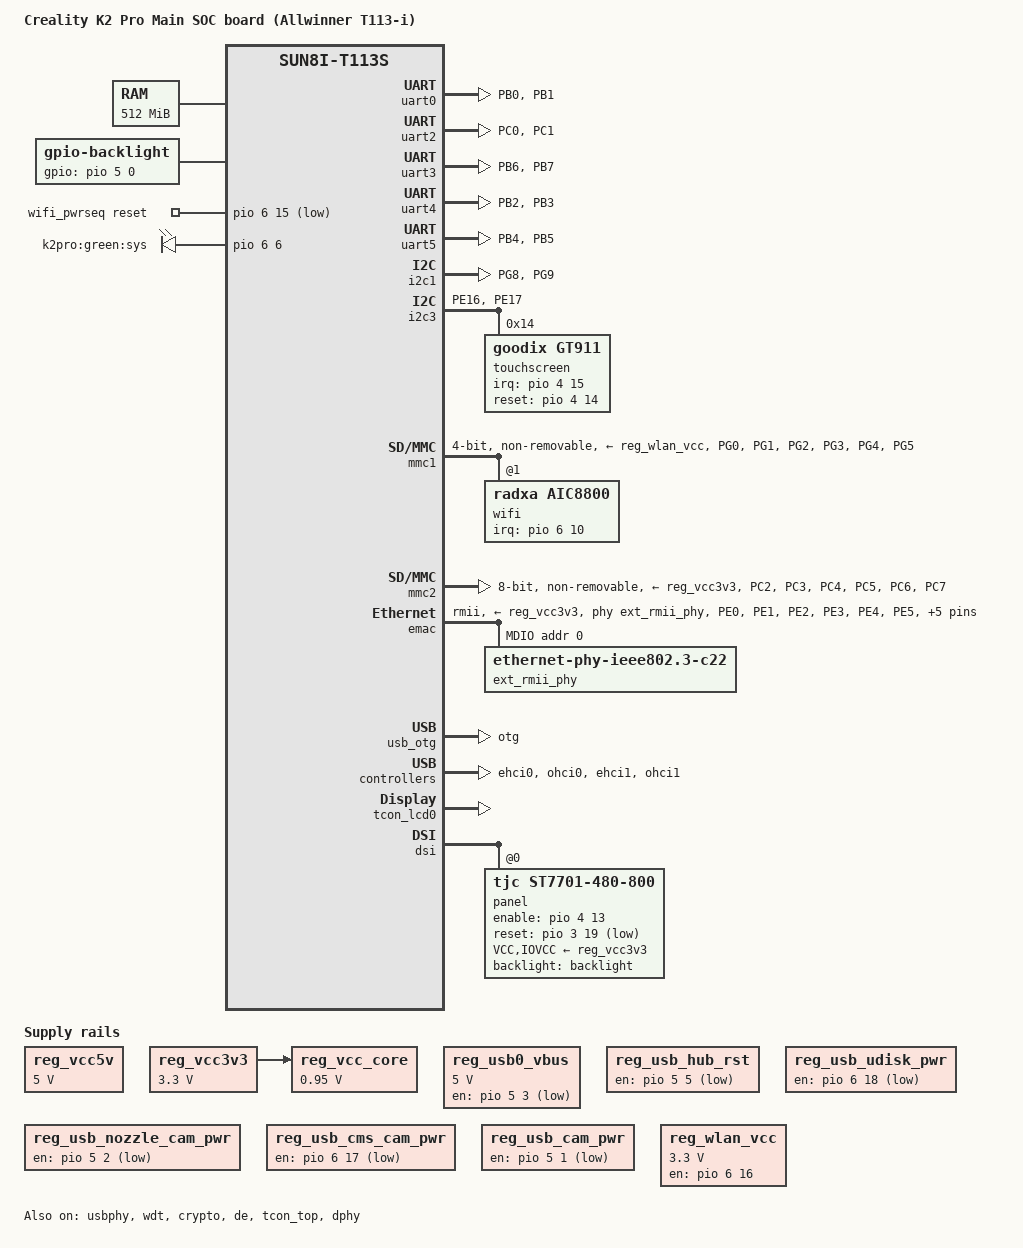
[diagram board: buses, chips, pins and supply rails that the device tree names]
// SPDX-License-Identifier: (GPL-2.0+ OR MIT)
/*
 * Copyright (C) 2026 Armbian Community
 * Device Tree for Allwinner T113-i Creality K2 Pro board
 * Ground-truth verified against factory firmware kernel_fex_dtb_0.dts
 */

/dts-v1/;

/memreserve/ 0x41b00000 0x00100000;

#include "sun8i-t113s.dtsi"

#include <dt-bindings/clock/sun20i-d1-ccu.h>
#include <dt-bindings/gpio/gpio.h>
#include <dt-bindings/interrupt-controller/irq.h>
#include <dt-bindings/pwm/pwm.h>
#include <dt-bindings/reset/sun20i-d1-ccu.h>

/ {
    model = "Creality K2 Pro Main SOC board (Allwinner T113-i)";
    compatible = "creality,creality-k2pro-t113i", "allwinner,sun8i-t113i", "allwinner,sun8i-t113s";

    aliases {
        serial0 = &uart0;
        serial2 = &uart2;
        serial3 = &uart3;
        serial4 = &uart4;
        serial5 = &uart5;
        ethernet0 = &emac;
        mmc0 = &mmc2; /* eMMC mapped to mmc0 -> /dev/mmcblk0 */
        mmc1 = &mmc1; /* SDIO WiFi -> /dev/mmcblk1 */
    };

    chosen {
        stdout-path = "serial0:115200n8";
        bootargs = "console=ttyS0,115200 earlycon=uart8250,mmio32,0x02500000 fbcon=rotate:1 root=/dev/mmcblk0p6 rw rootwait clk_ignore_unused panic=10 init=/init";
    };

    reserved-memory {
        #address-cells = <1>;
        #size-cells = <1>;
        ranges;

        dsp_reserved: dsp@42000000 {
            reg = <0x42000000 0x01100000>; /* 17 MiB: covers 0x42000000 to 0x43100000 (DSP DDR, SRAM, RPMSG & DRAM tuning data) */
            no-map;
        };

        optee_reserved: optee@41b00000 {
            reg = <0x41b00000 0x00100000>;
            no-map;
        };
    };

    memory@40000000 {
        device_type = "memory";
        reg = <0x40000000 0x20000000>; /* 512 MiB DDR3 */
    };

	/* Display Backlight: PF0 as GPIO switch (active high) */
    backlight: backlight {
        compatible = "gpio-backlight";
        gpios = <&pio 5 0 GPIO_ACTIVE_HIGH>; /* PF0 */
        default-on;
        status = "okay";
    };

    /* Fixed Regulators */
    reg_vcc5v: regulator-5v {
        compatible = "regulator-fixed";
        regulator-name = "vcc-5v";
        regulator-min-microvolt = <5000000>;
        regulator-max-microvolt = <5000000>;
        regulator-always-on;
    };

    reg_vcc3v3: regulator-3v3 {
        compatible = "regulator-fixed";
        regulator-name = "vcc-3v3";
        regulator-min-microvolt = <3300000>;
        regulator-max-microvolt = <3300000>;
        regulator-always-on;
    };

    reg_vcc_core: regulator-core {
        compatible = "regulator-fixed";
        regulator-name = "vcc-core";
        regulator-min-microvolt = <950000>;
        regulator-max-microvolt = <950000>;
        vin-supply = <&reg_vcc3v3>;
    };

    /* USB 5V VBUS Power Switch: PF3 (Active Low in hardware) */
    reg_usb0_vbus: regulator-usb0-vbus {
        compatible = "regulator-fixed";
        regulator-name = "usb0-vbus";
        regulator-min-microvolt = <5000000>;
        regulator-max-microvolt = <5000000>;
        gpio = <&pio 5 3 GPIO_ACTIVE_LOW>;
        enable-active-low;
    };

    /* USB Hub Reset: PF5 (Active Low) */
    reg_usb_hub_rst: regulator-usb-hub-rst {
        compatible = "regulator-fixed";
        regulator-name = "usb-hub-rst";
        gpio = <&pio 5 5 GPIO_ACTIVE_LOW>;
        enable-active-low;
        regulator-always-on;
        regulator-boot-on;
    };

    /* USB U-Disk Power: PG18 (Active Low) */
    reg_usb_udisk_pwr: regulator-usb-udisk-pwr {
        compatible = "regulator-fixed";
        regulator-name = "usb-udisk-pwr";
        gpio = <&pio 6 18 GPIO_ACTIVE_LOW>;
        enable-active-low;
        regulator-always-on;
        regulator-boot-on;
    };

    /* USB Nozzle Camera Power: PF2 (Active Low) */
    reg_usb_nozzle_cam_pwr: regulator-usb-nozzle-cam-pwr {
        compatible = "regulator-fixed";
        regulator-name = "usb-nozzle-cam-pwr";
        gpio = <&pio 5 2 GPIO_ACTIVE_LOW>;
        enable-active-low;
        regulator-always-on;
        regulator-boot-on;
    };

    /* USB Chamber Camera Power: PG17 (Active Low) */
    reg_usb_cms_cam_pwr: regulator-usb-cms-cam-pwr {
        compatible = "regulator-fixed";
        regulator-name = "usb-cms-cam-pwr";
        gpio = <&pio 6 17 GPIO_ACTIVE_LOW>;
        enable-active-low;
        regulator-always-on;
        regulator-boot-on;
    };

    /* USB Camera Power: PF1 (Active Low) */
    reg_usb_cam_pwr: regulator-usb-cam-pwr {
        compatible = "regulator-fixed";
        regulator-name = "usb-cam-pwr";
        gpio = <&pio 5 1 GPIO_ACTIVE_LOW>;
        enable-active-low;
        regulator-always-on;
        regulator-boot-on;
    };

    /* WLAN RF Power: PG16 (Active High) */
    reg_wlan_vcc: regulator-wlan-vcc {
        compatible = "regulator-fixed";
        regulator-name = "wlan-vcc";
        regulator-min-microvolt = <3300000>;
        regulator-max-microvolt = <3300000>;
        gpio = <&pio 6 16 GPIO_ACTIVE_HIGH>;
        enable-active-high;
        regulator-always-on;
        regulator-boot-on;
    };

    /* WiFi Power Sequence: PG15 WLAN_REG_ON, PG11 CLK_FANOUT1 (32k clock) */
    wifi_pwrseq: wifi-pwrseq {
        compatible = "mmc-pwrseq-simple";
        clocks = <&ccu CLK_FANOUT1>;
        clock-names = "ext_clock";
        assigned-clocks = <&ccu CLK_FANOUT1>;
        assigned-clock-rates = <32768>;
        pinctrl-0 = <&clk_pg11_pin>;
        pinctrl-names = "default";
        reset-gpios = <&pio 6 15 GPIO_ACTIVE_LOW>;
        post-power-on-delay-ms = <200>;
        power-off-delay-us = <50>;
    };

    /* System Status LED: PG6 */
    leds {
        compatible = "gpio-leds";

        led_sys: led-sys {
            label = "k2pro:green:sys";
            gpios = <&pio 6 6 GPIO_ACTIVE_HIGH>;
            linux,default-trigger = "heartbeat";
            default-state = "on";
        };
    };

    psci {
        compatible = "arm,psci-1.0";
        method = "smc";
    };

    cpus {
        enable-method = "psci";
    };

    timer {
        compatible = "arm,armv7-timer";
        clock-frequency = <24000000>;
        arm,cpu-registers-not-fw-configured;
        arm,no-tick-in-suspend;
    };

};

&dcxo {
    clock-frequency = <24000000>;
};

&cpu0 {
    enable-method = "psci";
    cpu-supply = <&reg_vcc_core>;
};

&cpu1 {
    enable-method = "psci";
    cpu-supply = <&reg_vcc_core>;
};

&pio {
    vcc-pb-supply = <&reg_vcc3v3>;
    vcc-pc-supply = <&reg_vcc3v3>;
    vcc-pd-supply = <&reg_vcc3v3>;
    vcc-pe-supply = <&reg_vcc3v3>;
    vcc-pf-supply = <&reg_vcc3v3>;
    vcc-pg-supply = <&reg_vcc3v3>;

    uart0_pb_pins: uart0-pb-pins {
        pins = "PB0", "PB1";
        function = "uart0";
        drive-strength = <10>;
        bias-pull-up;
    };

    uart2_pc_pins: uart2-pc-pins {
        pins = "PC0", "PC1";
        function = "uart2";
        drive-strength = <10>;
        bias-pull-up;
    };

    uart3_pb_pins: uart3-pb-pins {
        pins = "PB6", "PB7";
        function = "uart3";
        drive-strength = <10>;
        bias-pull-up;
    };

    uart4_pb_pins: uart4-pb-pins {
        pins = "PB2", "PB3";
        function = "uart4";
        drive-strength = <10>;
        bias-pull-up;
    };

    uart5_pb_pins: uart5-pb-pins {
        pins = "PB4", "PB5";
        function = "uart5";
        drive-strength = <10>;
        bias-pull-up;
    };

    pwm5_pin: pwm5-pin {
        pins = "PD20";
        function = "pwm5";
    };

    i2c1_pg_pins: i2c1-pg-pins {
        pins = "PG8", "PG9";
        function = "i2c1";
    };

    i2c3_pe_pins: i2c3-pe-pins {
        pins = "PE16", "PE17";
        function = "i2c3";
    };

    rmii_pe_pins: rmii-pe-pins {
        pins = "PE0", "PE1", "PE2", "PE3", "PE4",
               "PE5", "PE6", "PE7", "PE8", "PE9", "PE10";
        function = "emac";
    };

    mmc1_pins: mmc1-pins {
        pins = "PG0", "PG1", "PG2", "PG3", "PG4", "PG5";
        function = "mmc1";
        drive-strength = <30>;
        bias-pull-up;
    };

    mmc2_pins: mmc2-pins {
        pins = "PC2", "PC3", "PC4", "PC5", "PC6", "PC7";
        function = "mmc2";
        drive-strength = <30>;
        bias-pull-up;
    };
};

/* UART0: Debug Console on PB0/PB1 */
&uart0 {
    pinctrl-0 = <&uart0_pb_pins>;
    pinctrl-names = "default";
    fifo-size = <64>;
    /delete-property/ dmas;
    /delete-property/ dma-names;
    status = "okay";
};

/* UART2: Main MCU (PC0/PC1, 230400 baud) */
&uart2 {
    pinctrl-0 = <&uart2_pc_pins>;
    pinctrl-names = "default";
    /delete-property/ dmas;
    /delete-property/ dma-names;
    status = "okay";
};

/* UART3: Toolhead / Nozzle MCU (PB6/PB7, 230400 baud) */
&uart3 {
    pinctrl-0 = <&uart3_pb_pins>;
    pinctrl-names = "default";
    /delete-property/ dmas;
    /delete-property/ dma-names;
    status = "okay";
};

/* UART4: Bed MCU (PB2/PB3) */
&uart4 {
    pinctrl-0 = <&uart4_pb_pins>;
    pinctrl-names = "default";
    /delete-property/ dmas;
    /delete-property/ dma-names;
    status = "okay";
};

/* UART5: RS-485 / CFS Box (PB4/PB5, 230400 baud) */
&uart5 {
    pinctrl-0 = <&uart5_pb_pins>;
    pinctrl-names = "default";
    /delete-property/ dmas;
    /delete-property/ dma-names;
    status = "okay";
};

/* I2C1: PG8/PG9 */
&i2c1 {
    pinctrl-0 = <&i2c1_pg_pins>;
    pinctrl-names = "default";
    status = "okay";
};

/* I2C3: PE16/PE17 with Goodix Touchscreen */
&i2c3 {
    pinctrl-0 = <&i2c3_pe_pins>;
    pinctrl-names = "default";
    status = "okay";

    touchscreen@14 {
        compatible = "goodix,gt911";
        reg = <0x14>;
        interrupt-parent = <&pio>;
        interrupts = <4 15 IRQ_TYPE_EDGE_FALLING>; /* PE15 */
        irq-gpios = <&pio 4 15 GPIO_ACTIVE_HIGH>;
        reset-gpios = <&pio 4 14 GPIO_ACTIVE_HIGH>; /* PE14 */
        touchscreen-size-x = <480>;
        touchscreen-size-y = <800>;
        status = "okay";
    };
};

/* SDIO WiFi on MMC1: PG0..PG5 */
&mmc1 {
    pinctrl-0 = <&mmc1_pins>;
    pinctrl-names = "default";
    vmmc-supply = <&reg_wlan_vcc>;
    vqmmc-supply = <&reg_vcc3v3>;
    mmc-pwrseq = <&wifi_pwrseq>;
    bus-width = <4>;
    non-removable;
    cap-sd-highspeed;
    no-mmc;
    no-sd;
    status = "okay";

    wifi@1 {
        reg = <1>;
        compatible = "radxa,aic8800", "aicsemi,aic8800";
        interrupt-parent = <&pio>;
        interrupts = <6 10 IRQ_TYPE_LEVEL_HIGH>; /* PG10 WLAN_HOSTWAKE */
        interrupt-names = "host-wake";
    };
};

/* Onboard eMMC on MMC2: PC2..PC7 */
&mmc2 {
    pinctrl-0 = <&mmc2_pins>;
    pinctrl-names = "default";
    vmmc-supply = <&reg_vcc3v3>;
    vqmmc-supply = <&reg_vcc3v3>;
    bus-width = <8>;
    non-removable;
    cap-mmc-highspeed;
    mmc-ddr-1_8v;
    mmc-ddr-3_3v;
    cap-sd-highspeed;
    no-sd;
    no-sdio;
    status = "okay";
};

/* 100M Ethernet (EMAC): RMII on PE0..PE10, RTL8201F PHY at address 0, Reset on PE11 */
&emac {
    pinctrl-0 = <&rmii_pe_pins>;
    pinctrl-names = "default";
    clocks = <&ccu CLK_BUS_EMAC>, <&ccu CLK_EMAC_25M>;
    clock-names = "stmmaceth", "ephy";
    phy-mode = "rmii";
    phy-handle = <&ext_rmii_phy>;
    phy-supply = <&reg_vcc3v3>;
    phy-rst-gpios = <&pio 4 11 GPIO_ACTIVE_LOW>;
    allwinner,rx-delay-ps = <3100>;
    allwinner,tx-delay-ps = <700>;
    status = "okay";

    mdio {
        #address-cells = <1>;
        #size-cells = <0>;

        ext_rmii_phy: ethernet-phy@0 {
            compatible = "ethernet-phy-ieee802.3-c22";
            reg = <0>;
        };
    };
};

/* USB Host / OTG Controllers */
&usbphy {
    usb0_id_det-gpios = <&pio 6 7 GPIO_ACTIVE_LOW>;
    usb0_vbus-supply = <&reg_usb0_vbus>;
    usb1_vbus-supply = <&reg_vcc5v>;
    status = "okay";
};

&usb_otg {
    dr_mode = "otg";
    status = "okay";
};

&ehci0 {
    status = "okay";
};

&ohci0 {
    status = "okay";
};

&ehci1 {
    status = "okay";
};

&ohci1 {
    status = "okay";
};

&wdt {
    status = "okay";
};

/* Clock configuration:
 * Set CPU to 1.200 GHz (1200 MHz max factory OPP) from PLL_CPUX
 */
&ccu {
    assigned-clocks = <&ccu CLK_PLL_CPUX>, <&ccu CLK_APB1>;
    assigned-clock-parents = <0>, <&ccu CLK_PLL_PERIPH0>;
    assigned-clock-rates = <1200000000>, <100000000>;
};

/* Crypto engine */
&crypto {
    /delete-property/ clocks;
    /delete-property/ clock-names;
    clocks = <&ccu 36>,
             <&ccu 35>,
             <&ccu 52>,
             <&ccu 35>;
    clock-names = "bus", "mod", "ram", "trng";
    status = "okay";
};

/* Display Engine 2.0 */
&de {
    status = "okay";
};

/* Timing Controller 0 */
&tcon_lcd0 {
    status = "okay";
};

&tcon_top {
    status = "okay";
};

/* MIPI D-PHY */
&dphy {
    status = "okay";
};

/* MIPI-DSI Host Controller */
&dsi {
    vcc-dsi-supply = <&reg_vcc3v3>;
    #address-cells = <1>;
    #size-cells = <0>;
    status = "okay";

    panel@0 {
        compatible = "tjc,st7701-480-800";
        reg = <0>;
        enable-gpios = <&pio 4 13 GPIO_ACTIVE_HIGH>;  /* PE13 (lcd_gpio_0, power/enable) */
        reset-gpios = <&pio 3 19 GPIO_ACTIVE_LOW>;    /* PD19 (lcd_gpio_1, reset) */
        backlight = <&backlight>;
        VCC-supply = <&reg_vcc3v3>;
        IOVCC-supply = <&reg_vcc3v3>;
    };
};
